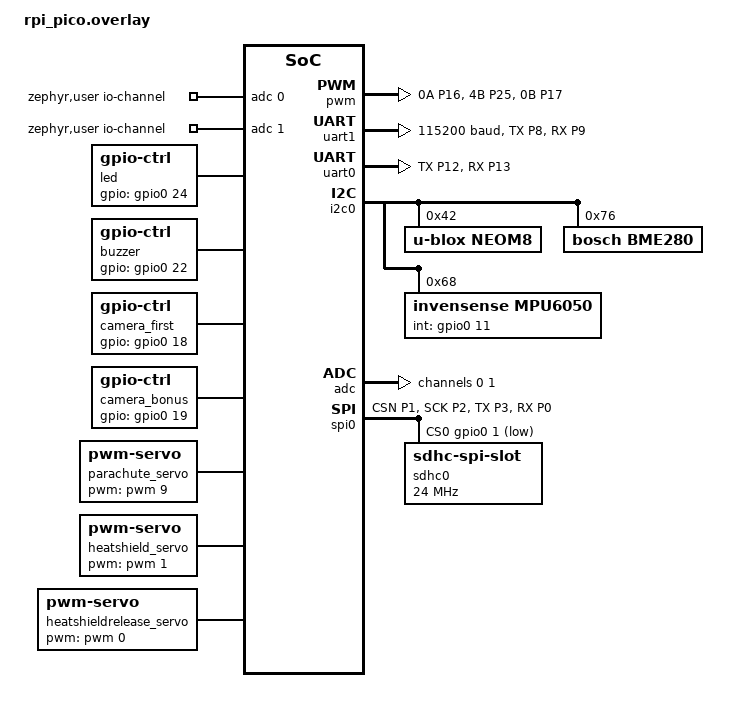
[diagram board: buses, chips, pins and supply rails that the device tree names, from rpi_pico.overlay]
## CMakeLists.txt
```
cmake_minimum_required(VERSION 3.20.0)
set(CMAKE_CXX_STANDARD 17)
set(BOARD sst_pico)
set(DTC_OVERLAY_FILE ${CMAKE_CURRENT_SOURCE_DIR}/rpi_pico.overlay)

include_directories(include)
list(APPEND ZEPHYR_EXTRA_MODULES ${CMAKE_CURRENT_SOURCE_DIR}/drivers)

find_package(Zephyr REQUIRED HINTS $ENV{ZEPHYR_BASE})
project(payload)

target_sources(app PRIVATE src/main.cpp)
include_directories(src)
file(GLOB_RECURSE SRCS src/**.cpp)
target_sources(app PRIVATE ${SRCS})
```

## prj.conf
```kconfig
# C++
CONFIG_CPLUSPLUS=y
CONFIG_NEWLIB_LIBC=y
CONFIG_LIB_CPLUSPLUS=y
CONFIG_NEWLIB_LIBC_FLOAT_PRINTF=y
CONFIG_STDOUT_CONSOLE=y
CONFIG_PRINTK=y
CONFIG_LOG=y
CONFIG_LOG_PRINTK=y
CONFIG_LOG_MODE_IMMEDIATE=y

# Zephyr 
CONFIG_SERIAL=y
CONFIG_GPIO=y
CONFIG_SENSOR=y
CONFIG_PINCTRL=y
CONFIG_PWM=y
CONFIG_PWM_LOG_LEVEL_DBG=y

# Sensors and devices
CONFIG_ADC=y
CONFIG_I2C=y
CONFIG_BME280=y
CONFIG_NEOM8=y
CONFIG_XBEE=y
CONFIG_MPU6050_TRIGGER_NONE=y
CONFIG_MPU_ALLOW_FLASH_WRITE=y

# SD card
CONFIG_SPI=y
CONFIG_FILE_SYSTEM=y
CONFIG_FAT_FILESYSTEM_ELM=y
CONFIG_DISK_DRIVER_SDMMC=y
CONFIG_MAIN_STACK_SIZE=16384
CONFIG_FLASH=y
```

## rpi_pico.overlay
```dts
/ {
	chosen {
		cansat,xbee = &uart1;
	};

	zephyr,user {
		io-channels = <&adc 0>, <&adc 1>;
	};

	led: led {
        compatible = "gpio-ctrl";
        gpios = <&gpio0 24 0x0>;
    };

	buzzer: buzzer {
		compatible = "gpio-ctrl";
		gpios = <&gpio0 22 0x0>;
	};
	
	camera_first: camera_first {
		compatible = "gpio-ctrl";
		gpios = <&gpio0 18 0x0>;
	};

	camera_bonus: camera_bonus {
		compatible = "gpio-ctrl";
		gpios = <&gpio0 19 0x0>;
	};

	parachute_servo: parachute_servo {
		compatible = "pwm-servo";
		status = "okay";
		pwms = <&pwm 9 PWM_MSEC(20) PWM_POLARITY_NORMAL>;
		min-pulse = <PWM_USEC(500)>;
		max-pulse = <PWM_USEC(2000)>;
	};

	heatshield_servo: heatshield_servo { 
		compatible = "pwm-servo";
		status = "okay";
		pwms = <&pwm 1 PWM_MSEC(20) PWM_POLARITY_NORMAL>;
		min-pulse = <PWM_USEC(500)>;
		max-pulse = <PWM_USEC(1750)>;
	};

	heatshieldrelease_servo: heatshieldrelease_servo {
		compatible = "pwm-servo";
		status = "okay";
		pwms = <&pwm 0 PWM_MSEC(20) PWM_POLARITY_NORMAL>;
		min-pulse = <PWM_USEC(400)>;
		max-pulse = <PWM_USEC(800)>;
	};
};

&pinctrl{
	mypwm: mypwm {
		group1 {
			pinmux = <PWM_0A_P16>;
		};
		group2 {
			pinmux = <PWM_4B_P25>;
		};
		group3 {
			pinmux = <PWM_0B_P17>;
		};
	};

	uart_xbee: uart_xbee {
		group1 {
			pinmux = <UART1_TX_P8>;
		};
		group2 {
			pinmux = <UART1_RX_P9>;
			input-enable;
		};
	};

	uart_serial: uart_serial {
		group1 {
			pinmux = <UART0_TX_P12>;
		};
		group2 {
			pinmux = <UART0_RX_P13>;
			input-enable;
		};
	};
	
	myi2c: myi2c {
		group1 {
			pinmux = <I2C0_SDA_P4>, <I2C0_SCL_P5>;
			input-enable;
			input-schmitt-enable;
		};
	};

	myspi0: myspi0 {
        group1 {
            pinmux = <SPI0_CSN_P1>, <SPI0_SCK_P2>, <SPI0_TX_P3>;
        };
        group2 {
            pinmux = <SPI0_RX_P0>;
            input-enable;
        };
    };
};

&pwm {
	pinctrl-0 = <&mypwm>;
	status = "okay";
	divider-int-4 = <255>;
};

&uart1 {
	current-speed = <115200>;
	status = "okay";
	pinctrl-0 = <&uart_xbee>;
	pinctrl-names = "default";
};

&uart0 {
	status = "okay";
	pinctrl-0 = <&uart_serial>;
};

&i2c0 {
	status = "okay";
	pinctrl-0 = <&myi2c>;

	neom8: neom8@42 {
        status = "okay";
        compatible = "u-blox,neom8";
        label = "NEOM8";
        reg = <0x42>;
    };

	bme280: bme280@76 {
		compatible = "bosch,bme280";
		reg = <0x76>;
	};
	
	mpu6050@68 {
		compatible = "invensense,mpu6050";
		reg = <0x68>;
		status = "okay";
		int-gpios = <&gpio0 11 GPIO_ACTIVE_HIGH>;
	};
};

&adc {
	#address-cells = <1>;
	#size-cells = <0>;
	status = "okay";

	channel@0 {
		reg = <0>;
		zephyr,gain = "ADC_GAIN_1";
		zephyr,reference = "ADC_REF_INTERNAL";
		zephyr,acquisition-time = <ADC_ACQ_TIME_DEFAULT>;
		zephyr,resolution = <12>;
	};

	channel@1 {
		reg = <1>;
		zephyr,gain = "ADC_GAIN_1";
		zephyr,reference = "ADC_REF_INTERNAL";
		zephyr,acquisition-time = <ADC_ACQ_TIME_DEFAULT>;
		zephyr,resolution = <12>;
	};
};

&spi0 {
    status = "okay";
    pinctrl-0 = <&myspi0>;
    pinctrl-names = "default";
    cs-gpios = <&gpio0 1 GPIO_ACTIVE_LOW>;
    sdhc0: sdhc@0 {
        compatible = "zephyr,sdhc-spi-slot";
        reg = <0>;
        status = "okay";
        mmc {
            compatible = "zephyr,sdmmc-disk";
            status = "okay";
        };
        spi-max-frequency = <24000000>;
    };
};
```

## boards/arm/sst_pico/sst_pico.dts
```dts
/*
 * Copyright (c) 2021 Yonatan Schachter
 *
 * SPDX-License-Identifier: Apache-2.0
 */

/dts-v1/;

#include <freq.h>

#include <rpi_pico/rp2040.dtsi>
#include "sst_pico-pinctrl.dtsi"
#include <zephyr/dt-bindings/pwm/pwm.h>

#include <zephyr/dt-bindings/i2c/i2c.h>

/ {
	chosen {
		zephyr,sram = &sram0;
		zephyr,flash = &flash0;
		zephyr,flash-controller = &ssi;
		zephyr,console = &uart0;
		zephyr,shell-uart = &uart0;
		zephyr,code-partition = &code_partition;
	};

	leds {
		compatible = "gpio-leds";
		led0: led_0 {
			gpios = <&gpio0 25 GPIO_ACTIVE_HIGH>;
			label = "LED";
		};
	};

	xtal_clk: xtal-clk {
		compatible = "fixed-clock";
		clock-frequency = <12000000>;
		#clock-cells = <0>;
	};

	pwm_leds {
		compatible = "pwm-leds";
		status = "disabled";
		pwm_led0: pwm_led_0 {
			pwms = <&pwm 9 PWM_MSEC(20) PWM_POLARITY_NORMAL>;
			label = "PWM_LED";
		};
	};

	aliases {
		led0 = &led0;
		watchdog0 = &wdt0;
		pwm-led0 = &pwm_led0;
	};
};

&flash0 {
	reg = <0x10000000 DT_SIZE_M(16)>;

	partitions {
		compatible = "fixed-partitions";
		#address-cells = <1>;
		#size-cells = <1>;

		/* Reserved memory for the second stage bootloader */
		second_stage_bootloader: partition@0 {
			label = "second_stage_bootloader";
			reg = <0x00000000 0x100>;
			read-only;
		};

		/*
		 * Usable flash. Starts at 0x100, after the bootloader. The partition
		 * size is 2MB minus the 0x100 bytes taken by the bootloader.
		 */
		code_partition: partition@100 {
			label = "code-partition";
			reg = <0x100 (DT_SIZE_M(1) - 0x100)>;
			read-only;
		};

		
		data_partition: partition@70000 {
			label = "data_partition";
			reg = <0x70000 0x100000>;
		};
		

		/* 
		data_partition: partition@100000 {
			label = "data-partition";
			reg = <100000 (DT_SIZE_M(2) - 0x100000)>;
		};
		*/
		
	};
};

&uart0 {
	current-speed = <115200>;
	status = "okay";
	pinctrl-0 = <&uart0_default>;
	pinctrl-names = "default";
};

&gpio0 {
	status = "okay";
};

&i2c0 {
	clock-frequency = <I2C_BITRATE_STANDARD>;
	status = "okay";
	pinctrl-0 = <&i2c0_default>;
	pinctrl-names = "default";
};

&spi0 {
	clock-frequency = <DT_FREQ_M(8)>;
	status = "okay";
	pinctrl-0 = <&spi0_default>;
	pinctrl-names = "default";
};

&wdt0 {
	status = "okay";
};

&adc {
	status = "okay";
	pinctrl-0 = <&adc_default>;
	pinctrl-names = "default";
};

zephyr_udc0: &usbd {
	status = "okay";
};

&pwm {
	pinctrl-0 = <&pwm_ch4b_default>;
	pinctrl-names = "default";
	divider-int-0 = <255>;
};
```

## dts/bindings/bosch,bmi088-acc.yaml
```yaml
# Copyright (c) 2018, Linaro Limited
# SPDX-License-Identifier: Apache-2.0

description: BMI088 inertial measurement unit

compatible: "bosch,bmi088-acc"

include: spi-device.yaml

properties:
  osr:
    type: int
    required: false
    default: 0x0A
    description: Oversampling ratio, influences bandwidth of internal low-pass filter. See value "acc_bwp" in datasheet
  odr:
    type: int
    required: false
    default: 0x08
    description: Output data rate, influences bandwidth of internal low-pass filter. See value "acc_odr" in datasheet
```

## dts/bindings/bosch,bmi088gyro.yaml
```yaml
# Copyright (c) 2020, Scanimetrics Inc.
# SPDX-License-Identifier: Apache-2.0

description: |
    Ublox M8 M8 series GNSS modules
    This binding provides a representation of the Ublox M8 series gnss module.
    The module is interfaced using i2c bus.

compatible: "bosch,bmi088gyro"

include: i2c-device.yaml

properties:
    label:
      required: true

    txready-gpios:
      type: phandle-array
      required: false
      description: |
          The TX_READY function is used to indicate when the receiver has data
          to transmit on DDC interface.
          A listener can wait on the TX_READY signal instead of polling the
          DDC interfaces. 
          The TX_READY function can be mapped to TXD (PIO 06).
          The TX_READY function is disabled by default.
          Reference doc: UBX-16018358 - R06
          Section: 1.4.2

    reset-gpios:
      type: phandle-array
      required: true
      description: |
          Driving RESET_N low activates a hardware reset of the system.
          Use this pin only to reset the module.
          Do not use RESET_N to turn the module on and off,
          since the reset state increases power consumption.
          The SAM-M8Q RESET_N pin is for input only.
          Reference doc: UBX-16018358 - R06
          Section: 1.5.1


    extint-gpios:
      type: phandle-array
      required: false
      description: |
          EXTINT is an external interrupt pin.
          It can be used for wake-up functions in Power Save Mode
          and for aiding.
          Function is disabled by default.
          If EXTINT is not used for an external interrupt function,
          the pin can be used as a generic PIO (PIO13).
          PIO13 can be configured to function as an output pin for
          the TXD Ready feature to indicate that the receiver has data
          to transmit.
          Reference doc: UBX-16018358 - R06
          Section: 1.5.2

    safeboot-gpios:
      type: phandle-array
      required: false
      description: |
          The SAFEBOOT_N pin is for future service, updates and reconfiguration.
          Reference doc: UBX-16018358 - R06
          Section: 1.5.2

    timepulse-gpios:
      type: phandle-array
      required: false
      description: |
          A configurable time pulse signal. By default, the time pulse
          signal is configured to one pulse per second.
          Reference doc: UBX-16018358 - R06
          Section: 1.5.3

    txd-gpios:
      type: phandle-array
      required: false
      description: |
          UART TXD
          Reference doc: UBX-16018358 - R06
          Section: 1.4.1

    rxd-gpios:
      type: phandle-array
      required: false
      description: |
          UART RXD
          Reference doc: UBX-16018358 - R06
          Section: 1.4.1
```

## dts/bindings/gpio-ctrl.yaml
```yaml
# Copyright (c) 2022 Nordic Semiconductor ASA
# SPDX-License-Identifier: Apache-2.0

description: GPIO-driven something.

compatible: "gpio-ctrl"

include: [ base.yaml ]

properties:
  gpios:
    required: true
    type: phandle-array
    description: GPIO specifier driving the thing.
```

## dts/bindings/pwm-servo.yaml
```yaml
# Copyright (c) 2022 Nordic Semiconductor ASA
# SPDX-License-Identifier: Apache-2.0

description: PWM-driven servo motor.
compatible: "pwm-servo"
include: [ pwm-device.yaml ]

properties:
  min-pulse:
    required: true
    type: int
    description: Minimum pulse width (nanoseconds).

  max-pulse:
    required: true
    type: int
    description: Maximum pulse width (nanoseconds).
```

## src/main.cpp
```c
/** Sapienza Space Team
 * @author Niccolò Gatti 
 * @author Vittorio De Lucia
 * @date 08/06/2024
 * @copyright 2024 Copyright (c) | Sapienza Space Team, all rights reserved.
 */

#include <stdio.h>
#include <iostream>
#include <string>

#include <zephyr/kernel.h>
#include <zephyr/devicetree.h>
#include <zephyr/device.h>
#include <zephyr/drivers/sensor.h>
#include <zephyr/drivers/pwm.h>
#include <zephyr/drivers/gpio.h>
#include <zephyr/sys/printk.h>
#include <zephyr/sys/util.h>

#include "config.hpp"
#include "common/common.hpp"

#include "drivers/pwm_servo/servo.hpp"
#include "drivers/gpio/gpio.hpp"
#include "drivers/bme280/bme280.hpp"
#include "drivers/mpu6050/mpu6050.hpp"
#include "drivers/adc/adc.hpp"
#include "subsys/camera/camera.hpp"
#include "subsys/led/led.hpp"
#include "newsm/sm.hpp"
#include "commander/commander.hpp"
#include "controller/controller.hpp"
#include "telemetry/commands.hpp"
#include "telemetry/service.hpp"

#define PARACHUTE_NODE            DT_NODELABEL(parachute_servo)
#define HEATSHIELD_NODE           DT_NODELABEL(heatshield_servo)
#define HEATSHIELDRELEASE_NODE    DT_NODELABEL(heatshieldrelease_servo)

#define XBEE_UART_NODE            DT_CHOSEN(cansat_xbee)
#define NEO_SERIAL                DT_NODELABEL(neom8)
#define BMENODE                   DT_NODELABEL(bme280)
   
#define BUZZER_NODE               DT_NODELABEL(buzzer)
#define CAMERA_FIRST_NODE         DT_NODELABEL(camera_first)
#define CAMERA_BONUS_NODE         DT_NODELABEL(camera_bonus)
#define LED_NODE                  DT_NODELABEL(led)

using namespace payload;

int main() {
   // TO-DO: Remove all print on launch day!!!
   printk("HELLO WORLD!\n");
    
   static const drivers::pwm_servo::servo_t parachute_servo
   = {.dev       = PWM_DT_SPEC_GET(PARACHUTE_NODE),
      .min_pulse = DT_PROP(PARACHUTE_NODE, min_pulse),
      .max_pulse = DT_PROP(PARACHUTE_NODE, max_pulse)};

   static const drivers::pwm_servo::servo_t heatshield_servo
   = {.dev       = PWM_DT_SPEC_GET(HEATSHIELD_NODE),
      .min_pulse = DT_PROP(HEATSHIELD_NODE, min_pulse),
      .max_pulse = DT_PROP(HEATSHIELD_NODE, max_pulse)};

   static const drivers::pwm_servo::servo_t heatshieldrelease_servo
   = {.dev       = PWM_DT_SPEC_GET(HEATSHIELDRELEASE_NODE),
      .min_pulse = DT_PROP(HEATSHIELDRELEASE_NODE, min_pulse),
      .max_pulse = DT_PROP(HEATSHIELDRELEASE_NODE, max_pulse)};

   static const gpio_dt_spec buzzer_dev = GPIO_DT_SPEC_GET(BUZZER_NODE, gpios);
   static const gpio_dt_spec camera_first_dev = GPIO_DT_SPEC_GET(CAMERA_FIRST_NODE, gpios);
   static const gpio_dt_spec camera_bonus_dev = GPIO_DT_SPEC_GET(CAMERA_BONUS_NODE, gpios);
   static const gpio_dt_spec led_dev = GPIO_DT_SPEC_GET(LED_NODE, gpios);

   const struct device *bme280_dev = DEVICE_DT_GET(BMENODE);
   const struct device* mpu6050_dev = DEVICE_DT_GET_ONE(invensense_mpu6050);
   const struct device *xbee_node_dev = DEVICE_DT_GET(XBEE_UART_NODE);
   const struct device *gps_dev = DEVICE_DT_GET(NEO_SERIAL);

   drivers::pwm_servo::Servo parachute_servo_dev (parachute_servo);
   drivers::pwm_servo::Servo heatshield_servo_dev (heatshield_servo);
   drivers::pwm_servo::Servo heatshieldrelease_servo_dev (heatshieldrelease_servo);

   subsys::Camera camera_first(camera_first_dev);
   subsys::Camera camera_bonus(camera_bonus_dev);
   subsys::Led led(led_dev);

   drivers::bme280::BME280Sensor bme280(bme280_dev);
   drivers::mpu6050::MPU6050Sensor mpu6050(mpu6050_dev);
   drivers::adc::Adc adc;
   drivers::xbee::Xbee xbee(xbee_node_dev);
   drivers::sdcard::SDCard sd;

   commander::Commander commander(parachute_servo_dev, heatshield_servo_dev, heatshieldrelease_servo_dev, buzzer_dev, camera_first, camera_bonus, led);
   telemetry::TelemetryService telemetry(xbee, bme280, mpu6050, adc, sd, gps_dev);

   newsm::NewStateMachine newStateMachine(commander);
   controller::Controller controller(newStateMachine, telemetry, bme280);

   telemetry::CommandsHandler commands(xbee, controller, commander);

   commander.singBuzzer();
   k_msleep(200);
   commander.shutUpBuzzer();

   newStateMachine.setState(common::longStateToState(LAUNCH_WAIT));

   // IMPORTANT ON LAUNCH DAY!!!
   // TO-DO: On launch day telemetry shall start OFF and will be started by the Ground Station

   // telemetry.startTelemetry();
   //RESET SERVO
   k_msleep(2000);
   commander.resetParachute();
   k_msleep(1000);
   commander.resetHeatShieldDeploy();
   k_msleep(1000);
   commander.resetHeatShieldRelease();

   commander.singBuzzer();
   k_msleep(60);
   commander.shutUpBuzzer();
   k_msleep(60);
   commander.singBuzzer();
   k_msleep(60);
   commander.shutUpBuzzer();
   
   bool camera_first_activated = true;
   bool camera_first_stop = true;

   bool camera_bonus_activated = true;
   bool camera_bonus_stop = true;

   while (1) {
      if(newStateMachine.getActualState()==common::longStateToState(ASCENT) && camera_first_activated){
         commander.recordVideoFirst();
         camera_first_activated = false;
      }
      if(newStateMachine.getActualState()==common::longStateToState(LANDED) && camera_first_stop){
         commander.stopRecordVideoFirst();
         camera_first_stop = false;
      }
      if(newStateMachine.getActualState()==common::longStateToState(HEAT_SHIELD_DEPLOY) && camera_bonus_activated){
         commander.recordVideoBonus();
         camera_bonus_activated = false;
      }
      if(newStateMachine.getActualState()==common::longStateToState(LANDED) && camera_bonus_stop){
         commander.stopRecordVideoBonus();
         camera_bonus_stop = false;
      }
      k_msleep(1000);
   }

   return 0;
}
```

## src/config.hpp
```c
/**
 * @file sdcard.cpp
 * @author Lorenzo Thomas Contessa <lorenzocontessa.dev@gmail.com>
 * @date 19/05/2023
 * @copyright 2023 Copyright (c) | Sapienza Space Team, all rights reserved.
 */

#ifndef PAYLOAD_CONFIG_HPP
#define PAYLOAD_CONFIG_HPP

#include <cstdint>
#include <stdio.h>
#include <iostream>
#include <string>

//TO-DO Clean const

namespace payload {
    struct config {
        static inline constexpr int      TEAM_ID                    = 2007;
        // MAC Xbee Ragno: 0013A200421E1865
        static inline constexpr uint64_t GCS_ADDRESS                = 0x0013A20041CFED46;
        // static inline constexpr uint64_t GCS_ADDRESS                = 0x0013A200423AC7C6;
        static inline constexpr int      DEPLOY_PARACHUTE_ALTITUDE  = 400;
        static inline constexpr int      DEPLOY_PAYLOAD_ALTITUDE    = 300;
        static inline constexpr double   ALTIMETER_PRECISION        = 0.5f;
        static inline constexpr double   APOGEE_ALTITUDE_ERROR      = 0.1f;
        static constexpr double          G                          = 9.81f;
        static constexpr double          mG_to_MSECSEC              = (G / 1000.0f);
        static constexpr double          kPa_to_Pa                  = 1000.0f;
        static constexpr double          WORLD_REFERENCE_PRESSURE   = 101325.0f;
        static constexpr double          ASCENT_VELOCITY            = 20.0f;
        static constexpr double          APOGEE                     = 548.8f;
        static constexpr double          HEAT_SHIELD_RELEASE_ALTITUDE   = 150.0f;
    };
} // PAYLOAD_CONFIG_HPP

#endif// CFSW_CONFIG_HPP
```
